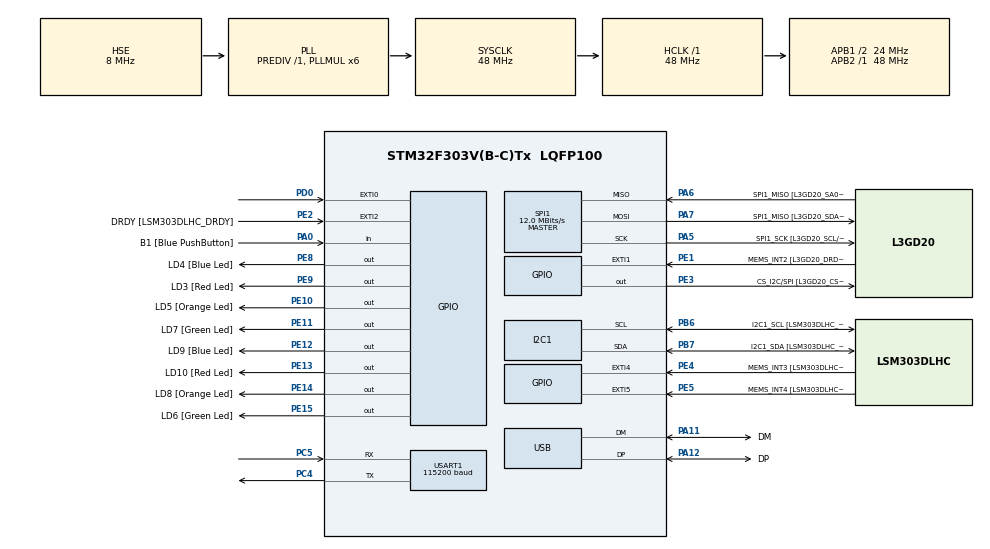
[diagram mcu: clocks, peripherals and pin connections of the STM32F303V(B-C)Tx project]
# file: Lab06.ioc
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I2C1.Timing=0x00201D2B
I2C1.Timing-I2C=0x2000090E
Mcu.Family=STM32F3
Mcu.Name=STM32F303V(B-C)Tx
Mcu.Package=LQFP100
NVIC.EXTI0_IRQn=true\:0\:0\:false\:false\:true\:true\:true\:true
NVIC.PriorityGroup=NVIC_PRIORITYGROUP_0
NVIC.TIM2_IRQn=true\:0\:0\:false\:false\:true\:true\:true\:true
PA0.GPIO_Label=B1 [Blue PushButton]
PA0.Signal=GPIO_Input
PA11.GPIO_Label=DM
PA11.Mode=Device
PA11.Signal=USB_DM
PA12.GPIO_Label=DP
PA12.Mode=Device
PA12.Signal=USB_DP
PA13.GPIO_Label=SWDIO
PA13.Mode=Serial_Wire
PA13.Signal=SYS_JTMS-SWDIO
PA14.GPIO_Label=SWCLK
PA14.Mode=Serial_Wire
PA14.Signal=SYS_JTCK-SWCLK
PA5.GPIO_Label=SPI1_SCK [L3GD20_SCL/SPC]
PA5.Mode=Full_Duplex_Master
PA5.Signal=SPI1_SCK
PA6.GPIO_Label=SPI1_MISO [L3GD20_SA0/SDO]
PA6.Mode=Full_Duplex_Master
PA6.Signal=SPI1_MISO
PA7.GPIO_Label=SPI1_MISO [L3GD20_SDA/SDI/SDO]
PA7.Mode=Full_Duplex_Master
PA7.Signal=SPI1_MOSI
PB3.GPIO_Label=SWO
PB3.Signal=SYS_JTDO-TRACESWO
PB6.GPIO_Label=I2C1_SCL [LSM303DLHC_SCL]
PB6.GPIO_Pu=GPIO_PULLUP
PB6.Mode=I2C
PB6.Signal=I2C1_SCL
PB7.GPIO_Label=I2C1_SDA [LSM303DLHC_SDA]
PB7.GPIO_Pu=GPIO_PULLUP
PB7.Mode=I2C
PB7.Signal=I2C1_SDA
PC14-OSC32_IN.GPIO_Label=OSC32_IN
PC14-OSC32_IN.Signal=RCC_OSC32_IN
PC15-OSC32_OUT.GPIO_Label=OSC32_OUT
PC15-OSC32_OUT.Signal=RCC_OSC32_OUT
PC4.Mode=Asynchronous
PC4.Signal=USART1_TX
PC5.Mode=Asynchronous
PC5.Signal=USART1_RX
PD0.Signal=GPXTI0
PE1.GPIO_Label=MEMS_INT2 [L3GD20_DRDY/INT2]
PE1.GPIO_ModeDefaultEXTI=GPIO_MODE_EVT_RISING
PE1.Signal=GPXTI1
PE10.GPIO_Label=LD5 [Orange Led]
PE10.Signal=GPIO_Output
PE11.GPIO_Label=LD7 [Green Led]
PE11.Signal=GPIO_Output
PE12.GPIO_Label=LD9 [Blue Led]
PE12.Signal=GPIO_Output
PE13.GPIO_Label=LD10 [Red Led]
PE13.Signal=GPIO_Output
PE14.GPIO_Label=LD8 [Orange Led]
PE14.Signal=GPIO_Output
PE15.GPIO_Label=LD6 [Green Led]
PE15.Signal=GPIO_Output
PE2.GPIO_Label=DRDY [LSM303DLHC_DRDY]
PE2.GPIO_ModeDefaultEXTI=GPIO_MODE_EVT_RISING
PE2.Signal=GPXTI2
PE3.GPIO_Label=CS_I2C/SPI [L3GD20_CS_I2C/SPI]
PE3.Signal=GPIO_Output
PE4.GPIO_Label=MEMS_INT3 [LSM303DLHC_INT1]
PE4.GPIO_ModeDefaultEXTI=GPIO_MODE_EVT_RISING
PE4.Signal=GPXTI4
PE5.GPIO_Label=MEMS_INT4 [LSM303DLHC_INT2]
PE5.GPIO_ModeDefaultEXTI=GPIO_MODE_EVT_RISING
PE5.Signal=GPXTI5
PE8.GPIO_Label=LD4 [Blue Led]
PE8.Signal=GPIO_Output
PE9.GPIO_Label=LD3 [Red Led]
PE9.Signal=GPIO_Output
PF0-OSC_IN.GPIO_Label=OSC_IN
PF0-OSC_IN.Mode=HSE-External-Clock-Source
PF0-OSC_IN.Signal=RCC_OSC_IN
PF1-OSC_OUT.GPIO_Label=OSC_OUT
PF1-OSC_OUT.Signal=RCC_OSC_OUT
ProjectManager.HeapSize=0x200
ProjectManager.StackSize=0x400
ProjectManager.TargetToolchain=CMake
RCC.AHBFreq_Value=48000000
RCC.APB1CLKDivider=RCC_HCLK_DIV2
RCC.APB1Freq_Value=24000000
RCC.APB1TimFreq_Value=48000000
RCC.APB2Freq_Value=48000000
RCC.APB2TimFreq_Value=48000000
RCC.CortexFreq_Value=48000000
RCC.HCLKFreq_Value=48000000
RCC.HSE_VALUE=8000000
RCC.HSI_VALUE=8000000
RCC.LSE_VALUE=32768
RCC.PLLMUL=RCC_PLL_MUL6
RCC.SYSCLKFreq_VALUE=48000000
RCC.SYSCLKSourceVirtual=RCC_SYSCLKSOURCE_PLLCLK
RCC.USBFreq_Value=48000000
SPI1.BaudRatePrescaler=SPI_BAUDRATEPRESCALER_4
SPI1.BaudRatePrescaler-Full_Duplex_Master=SPI_BAUDRATEPRESCALER_2
SPI1.CalculateBaudRate=12.0 MBits/s
SPI1.CalculateBaudRate-Full_Duplex_Master=24.0 MBits/s
SPI1.Direction=SPI_DIRECTION_2LINES
SPI1.Mode=SPI_MODE_MASTER
SPI1.Mode-Full_Duplex_Master=SPI_MODE_MASTER
SPI1.VirtualType=VM_MASTER
TIM2.Prescaler=9
USART1.BaudRate=115200
USART1.VirtualMode-Asynchronous=VM_ASYNC
VP_TIM2_VS_ClockSourceINT.Mode=Internal
board=STM32F3DISCOVERY

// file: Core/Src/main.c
/* USER CODE BEGIN Header */
/**
  ******************************************************************************
  * @file           : main.c
  * @brief          : Main program body
  ******************************************************************************
  * @attention
  *
  * Copyright (c) 2026 STMicroelectronics.
  * All rights reserved.
  *
  * This software is licensed under terms that can be found in the LICENSE file
  * in the root directory of this software component.
  * If no LICENSE file comes with this software, it is provided AS-IS.
  *
  ******************************************************************************
  */
/* USER CODE END Header */
#include "main.h"

/* USER CODE BEGIN Includes */

#include <stdio.h>

/* USER CODE END Includes */

/* USER CODE BEGIN PD */

#define SAMPLES 10

/* USER CODE END PD */

I2C_HandleTypeDef hi2c1;

SPI_HandleTypeDef hspi1;

TIM_HandleTypeDef htim2;

UART_HandleTypeDef huart1;

PCD_HandleTypeDef hpcd_USB_FS;

/* USER CODE BEGIN PV */

volatile uint32_t periods[SAMPLES];

volatile uint8_t sampleIndex = 0;
volatile uint8_t firstEdge = 1;
volatile uint8_t dataReady = 0;

/* USER CODE END PV */

void SystemClock_Config(void);
static void MX_GPIO_Init(void);
static void MX_I2C1_Init(void);
static void MX_SPI1_Init(void);
static void MX_TIM2_Init(void);
static void MX_USB_PCD_Init(void);
static void MX_USART1_UART_Init(void);

/* USER CODE BEGIN 0 */

int _write(int file, char *ptr, int len) {
    HAL_UART_Transmit(&huart1, (uint8_t*)ptr, len, HAL_MAX_DELAY);
    return len;
}

void HAL_GPIO_EXTI_Callback(uint16_t GPIO_Pin)
{
  if (GPIO_Pin == GPIO_PIN_0)   // PD0 = EXTI0
  {
    if (firstEdge == 1)
    {
      /* First rising edge:
      reset timer and start measuring */
      __HAL_TIM_SET_COUNTER(&htim2, 0);

      firstEdge = 0;
    }
    else
    {
      /* Next rising edge:
      timer value = one signal period */
      periods[sampleIndex] =__HAL_TIM_GET_COUNTER(&htim2);

      /* Reset timer for next period */
      __HAL_TIM_SET_COUNTER(&htim2, 0);

      sampleIndex++;

      /* After collecting 10 periods */
      if (sampleIndex >= SAMPLES)
      {
        sampleIndex = 0;
        dataReady = 1;
      }
    }
  }
}

/* USER CODE END 0 */

int main(void)
{

  /* MCU Configuration--------------------------------------------------------*/

  /* Reset of all peripherals, Initializes the Flash interface and the Systick. */
  HAL_Init();

  /* Configure the system clock */
  SystemClock_Config();

  /* Initialize all configured peripherals */
  MX_GPIO_Init();
  MX_I2C1_Init();
  MX_SPI1_Init();
  MX_TIM2_Init();
  MX_USB_PCD_Init();
  MX_USART1_UART_Init();
  /* USER CODE BEGIN 2 */

  HAL_TIM_Base_Start(&htim2);

  /* USER CODE END 2 */

  /* Infinite loop */
  while (1)
{

    /* USER CODE BEGIN 3 */

    if (dataReady == 1)
    {
        uint64_t sum = 0;
        for (int i = 0; i < SAMPLES; i++)
        {sum = sum + periods[i];
        }
        uint32_t averagePeriod = sum / SAMPLES;
        if (averagePeriod != 0)
        {
            uint32_t frequency = 48000000 / averagePeriod;
            printf("Average Period: %d\r\n",averagePeriod);
            printf("Frequency: %d Hz\r\n",frequency);
        }
        dataReady = 0;
    }

    HAL_Delay(100);

    /* USER CODE END 3 */
}

}
void SystemClock_Config(void)
{
  RCC_OscInitTypeDef RCC_OscInitStruct = {0};
  RCC_ClkInitTypeDef RCC_ClkInitStruct = {0};
  RCC_PeriphCLKInitTypeDef PeriphClkInit = {0};

  /** Initializes the RCC Oscillators according to the specified parameters
  * in the RCC_OscInitTypeDef structure.
  */
  RCC_OscInitStruct.OscillatorType = RCC_OSCILLATORTYPE_HSI|RCC_OSCILLATORTYPE_HSE;
  RCC_OscInitStruct.HSEState = RCC_HSE_BYPASS;
  RCC_OscInitStruct.HSEPredivValue = RCC_HSE_PREDIV_DIV1;
  RCC_OscInitStruct.HSIState = RCC_HSI_ON;
  RCC_OscInitStruct.HSICalibrationValue = RCC_HSICALIBRATION_DEFAULT;
  RCC_OscInitStruct.PLL.PLLState = RCC_PLL_ON;
  RCC_OscInitStruct.PLL.PLLSource = RCC_PLLSOURCE_HSE;
  RCC_OscInitStruct.PLL.PLLMUL = RCC_PLL_MUL6;
  if (HAL_RCC_OscConfig(&RCC_OscInitStruct) != HAL_OK)
  {
    Error_Handler();
  }

  /** Initializes the CPU, AHB and APB buses clocks
  */
  RCC_ClkInitStruct.ClockType = RCC_CLOCKTYPE_HCLK|RCC_CLOCKTYPE_SYSCLK
                              |RCC_CLOCKTYPE_PCLK1|RCC_CLOCKTYPE_PCLK2;
  RCC_ClkInitStruct.SYSCLKSource = RCC_SYSCLKSOURCE_PLLCLK;
  RCC_ClkInitStruct.AHBCLKDivider = RCC_SYSCLK_DIV1;
  RCC_ClkInitStruct.APB1CLKDivider = RCC_HCLK_DIV2;
  RCC_ClkInitStruct.APB2CLKDivider = RCC_HCLK_DIV1;

  if (HAL_RCC_ClockConfig(&RCC_ClkInitStruct, FLASH_LATENCY_1) != HAL_OK)
  {
    Error_Handler();
  }
  PeriphClkInit.PeriphClockSelection = RCC_PERIPHCLK_USB|RCC_PERIPHCLK_USART1
                              |RCC_PERIPHCLK_I2C1;
  PeriphClkInit.Usart1ClockSelection = RCC_USART1CLKSOURCE_PCLK2;
  PeriphClkInit.I2c1ClockSelection = RCC_I2C1CLKSOURCE_HSI;
  PeriphClkInit.USBClockSelection = RCC_USBCLKSOURCE_PLL;
  if (HAL_RCCEx_PeriphCLKConfig(&PeriphClkInit) != HAL_OK)
  {
    Error_Handler();
  }
}

static void MX_I2C1_Init(void)
{

  hi2c1.Instance = I2C1;
  hi2c1.Init.Timing = 0x00201D2B;
  hi2c1.Init.OwnAddress1 = 0;
  hi2c1.Init.AddressingMode = I2C_ADDRESSINGMODE_7BIT;
  hi2c1.Init.DualAddressMode = I2C_DUALADDRESS_DISABLE;
  hi2c1.Init.OwnAddress2 = 0;
  hi2c1.Init.OwnAddress2Masks = I2C_OA2_NOMASK;
  hi2c1.Init.GeneralCallMode = I2C_GENERALCALL_DISABLE;
  hi2c1.Init.NoStretchMode = I2C_NOSTRETCH_DISABLE;
  if (HAL_I2C_Init(&hi2c1) != HAL_OK)
  {
    Error_Handler();
  }

  /** Configure Analogue filter
  */
  if (HAL_I2CEx_ConfigAnalogFilter(&hi2c1, I2C_ANALOGFILTER_ENABLE) != HAL_OK)
  {
    Error_Handler();
  }

  /** Configure Digital filter
  */
  if (HAL_I2CEx_ConfigDigitalFilter(&hi2c1, 0) != HAL_OK)
  {
    Error_Handler();
  }

}

static void MX_SPI1_Init(void)
{

  /* SPI1 parameter configuration*/
  hspi1.Instance = SPI1;
  hspi1.Init.Mode = SPI_MODE_MASTER;
  hspi1.Init.Direction = SPI_DIRECTION_2LINES;
  hspi1.Init.DataSize = SPI_DATASIZE_4BIT;
  hspi1.Init.CLKPolarity = SPI_POLARITY_LOW;
  hspi1.Init.CLKPhase = SPI_PHASE_1EDGE;
  hspi1.Init.NSS = SPI_NSS_SOFT;
  hspi1.Init.BaudRatePrescaler = SPI_BAUDRATEPRESCALER_4;
  hspi1.Init.FirstBit = SPI_FIRSTBIT_MSB;
  hspi1.Init.TIMode = SPI_TIMODE_DISABLE;
  hspi1.Init.CRCCalculation = SPI_CRCCALCULATION_DISABLE;
  hspi1.Init.CRCPolynomial = 7;
  hspi1.Init.CRCLength = SPI_CRC_LENGTH_DATASIZE;
  hspi1.Init.NSSPMode = SPI_NSS_PULSE_ENABLE;
  if (HAL_SPI_Init(&hspi1) != HAL_OK)
  {
    Error_Handler();
  }

}

static void MX_TIM2_Init(void)
{

  TIM_ClockConfigTypeDef sClockSourceConfig = {0};
  TIM_MasterConfigTypeDef sMasterConfig = {0};

  htim2.Instance = TIM2;
  htim2.Init.Prescaler = 9;
  htim2.Init.CounterMode = TIM_COUNTERMODE_UP;
  htim2.Init.Period = 4294967295;
  htim2.Init.ClockDivision = TIM_CLOCKDIVISION_DIV1;
  htim2.Init.AutoReloadPreload = TIM_AUTORELOAD_PRELOAD_DISABLE;
  if (HAL_TIM_Base_Init(&htim2) != HAL_OK)
  {
    Error_Handler();
  }
  sClockSourceConfig.ClockSource = TIM_CLOCKSOURCE_INTERNAL;
  if (HAL_TIM_ConfigClockSource(&htim2, &sClockSourceConfig) != HAL_OK)
  {
    Error_Handler();
  }
  sMasterConfig.MasterOutputTrigger = TIM_TRGO_RESET;
  sMasterConfig.MasterSlaveMode = TIM_MASTERSLAVEMODE_DISABLE;
  if (HAL_TIMEx_MasterConfigSynchronization(&htim2, &sMasterConfig) != HAL_OK)
  {
    Error_Handler();
  }

}

static void MX_USART1_UART_Init(void)
{

  huart1.Instance = USART1;
  huart1.Init.BaudRate = 115200;
  huart1.Init.WordLength = UART_WORDLENGTH_8B;
  huart1.Init.StopBits = UART_STOPBITS_1;
  huart1.Init.Parity = UART_PARITY_NONE;
  huart1.Init.Mode = UART_MODE_TX_RX;
  huart1.Init.HwFlowCtl = UART_HWCONTROL_NONE;
  huart1.Init.OverSampling = UART_OVERSAMPLING_16;
  huart1.Init.OneBitSampling = UART_ONE_BIT_SAMPLE_DISABLE;
  huart1.AdvancedInit.AdvFeatureInit = UART_ADVFEATURE_NO_INIT;
  if (HAL_UART_Init(&huart1) != HAL_OK)
  {
    Error_Handler();
  }

}

static void MX_USB_PCD_Init(void)
{

  hpcd_USB_FS.Instance = USB;
  hpcd_USB_FS.Init.dev_endpoints = 8;
  hpcd_USB_FS.Init.speed = PCD_SPEED_FULL;
  hpcd_USB_FS.Init.phy_itface = PCD_PHY_EMBEDDED;
  hpcd_USB_FS.Init.low_power_enable = DISABLE;
  hpcd_USB_FS.Init.battery_charging_enable = DISABLE;
  if (HAL_PCD_Init(&hpcd_USB_FS) != HAL_OK)
  {
    Error_Handler();
  }

}

static void MX_GPIO_Init(void)
{
  GPIO_InitTypeDef GPIO_InitStruct = {0};

  /* GPIO Ports Clock Enable */
  __HAL_RCC_GPIOE_CLK_ENABLE();
  __HAL_RCC_GPIOC_CLK_ENABLE();
  __HAL_RCC_GPIOF_CLK_ENABLE();
  __HAL_RCC_GPIOA_CLK_ENABLE();
  __HAL_RCC_GPIOD_CLK_ENABLE();
  __HAL_RCC_GPIOB_CLK_ENABLE();

  /*Configure GPIO pin Output Level */
  HAL_GPIO_WritePin(GPIOE, CS_I2C_SPI_Pin|LD4_Pin|LD3_Pin|LD5_Pin
                          |LD7_Pin|LD9_Pin|LD10_Pin|LD8_Pin
                          |LD6_Pin, GPIO_PIN_RESET);

  /*Configure GPIO pins : DRDY_Pin MEMS_INT3_Pin MEMS_INT4_Pin MEMS_INT2_Pin */
  GPIO_InitStruct.Pin = DRDY_Pin|MEMS_INT3_Pin|MEMS_INT4_Pin|MEMS_INT2_Pin;
  GPIO_InitStruct.Mode = GPIO_MODE_EVT_RISING;
  GPIO_InitStruct.Pull = GPIO_NOPULL;
  HAL_GPIO_Init(GPIOE, &GPIO_InitStruct);

  /*Configure GPIO pins : CS_I2C_SPI_Pin LD4_Pin LD3_Pin LD5_Pin
                           LD7_Pin LD9_Pin LD10_Pin LD8_Pin
                           LD6_Pin */
  GPIO_InitStruct.Pin = CS_I2C_SPI_Pin|LD4_Pin|LD3_Pin|LD5_Pin
                          |LD7_Pin|LD9_Pin|LD10_Pin|LD8_Pin
                          |LD6_Pin;
  GPIO_InitStruct.Mode = GPIO_MODE_OUTPUT_PP;
  GPIO_InitStruct.Pull = GPIO_NOPULL;
  GPIO_InitStruct.Speed = GPIO_SPEED_FREQ_LOW;
  HAL_GPIO_Init(GPIOE, &GPIO_InitStruct);

  /*Configure GPIO pin : B1_Pin */
  GPIO_InitStruct.Pin = B1_Pin;
  GPIO_InitStruct.Mode = GPIO_MODE_INPUT;
  GPIO_InitStruct.Pull = GPIO_NOPULL;
  HAL_GPIO_Init(B1_GPIO_Port, &GPIO_InitStruct);

  /*Configure GPIO pin : PD0 */
  GPIO_InitStruct.Pin = GPIO_PIN_0;
  GPIO_InitStruct.Mode = GPIO_MODE_IT_RISING;
  GPIO_InitStruct.Pull = GPIO_NOPULL;
  HAL_GPIO_Init(GPIOD, &GPIO_InitStruct);

  /* EXTI interrupt init*/
  HAL_NVIC_SetPriority(EXTI0_IRQn, 0, 0);
  HAL_NVIC_EnableIRQ(EXTI0_IRQn);

}

void Error_Handler(void)
{
  __disable_irq();
  while (1)
  {
  }
}
